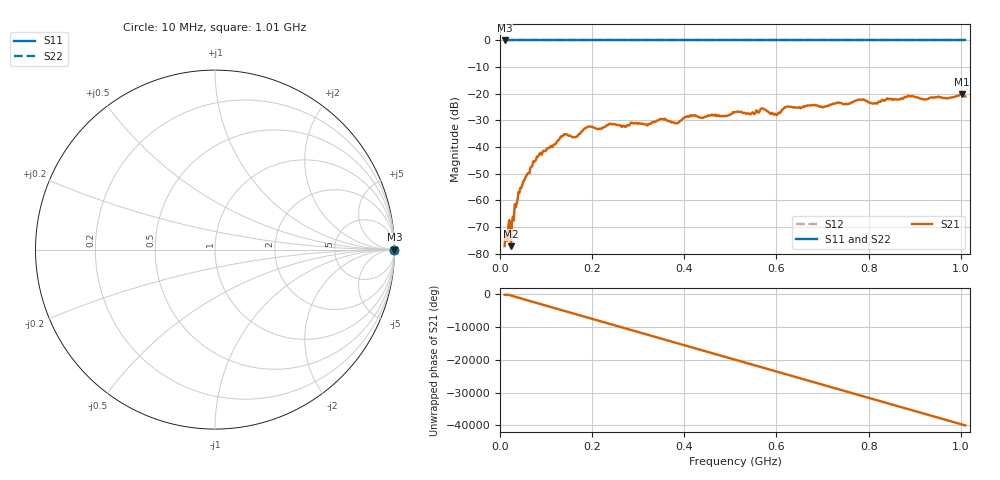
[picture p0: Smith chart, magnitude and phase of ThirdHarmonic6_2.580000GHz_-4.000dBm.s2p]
! 8/17/2025 5:27:19 AM
! C:\ANRITSUVNA\TEMP\TEMP.S2P
! CHANNEL.1
! TR.MEASUREMENT
! RAW.DATA
! RF.CORRECTION.OFF
! AVERAGING.OFF
! IF.BANDWIDTH: 5KHZ
! SWEEPTYPE:  FREQ.SWEEP(Linear)
! Reference Plane Port Info
! PORT:  PORT1  PORT2
! DISTANCE:  0  m  0  m
! TIME:  0  s  0  s
! PHASE.OFFSET:  0  deg.  0  deg.
! LOSS:  0  dB  0  dB
! REF.LOSS:  0  dB  0  dB
! REF.FREQ:  0  Hz  0  Hz
! Power Info
! POWER:  -20  dBm  -20  dBm
! EFF.POWER:  -20  dBm  -20  dBm
! SOURCE.ATTEN:  0  dB  0  dB
! TEST.ATTEN:  0  dB  0  dB
# GHZ S RI R 50.0
! FREQ.GHZ  S11RE  S11IM  S21RE  S21IM  S12RE  S12IM  S22RE  S22IM
!; PortSelection: Port_12
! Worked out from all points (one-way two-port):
!   501 points, 10 MHz to 1.01 GHz, reference 50 ohm
!   highest |S21| = -20.28 dB at 1.002 GHz (marker M1); lowest = -77.2 dB at 24 MHz (marker M2)
!   lowest |S11| = 0.0 dB at 10 MHz (marker M3)
!   |S11| at or under -10 dB: nowhere
!   |S22| runs from 0.0 to 0.0 dB; largest |S21 - S12| = 1.1
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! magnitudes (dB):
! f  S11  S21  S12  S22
! 10 MHz  0.0  -77.2  0.0  0.0
! 16 MHz  0.0  -75.2  0.0  0.0
! 24 MHz  0.0  -77.2  0.0  0.0
! 26 MHz  0.0  -68.1  0.0  0.0
! 36 MHz  0.0  -61.4  0.0  0.0
! 44 MHz  0.0  -55.3  0.0  0.0
! 84 MHz  0.0  -43.2  0.0  0.0
! 136 MHz  0.0  -35.8  0.0  0.0
! 164 MHz  0.0  -36.4  0.0  0.0
! 178 MHz  0.0  -34.1  0.0  0.0
! 194 MHz  0.0  -32.3  0.0  0.0
! 344 MHz  0.0  -29.9  0.0  0.0
! 382 MHz  0.0  -31.0  0.0  0.0
! 410 MHz  0.0  -28.7  0.0  0.0
! 510 MHz  0.0  -26.9  0.0  0.0
! 570 MHz  0.0  -25.5  0.0  0.0
! 598 MHz  0.0  -27.7  0.0  0.0
! 622 MHz  0.0  -24.9  0.0  0.0
! 678 MHz  0.0  -24.2  0.0  0.0
! 844 MHz  0.0  -22.1  0.0  0.0
! 1.002 GHz  0.0  -20.3  0.0  0.0
! 1.01 GHz  0.0  -21.0  0.0  0.0
